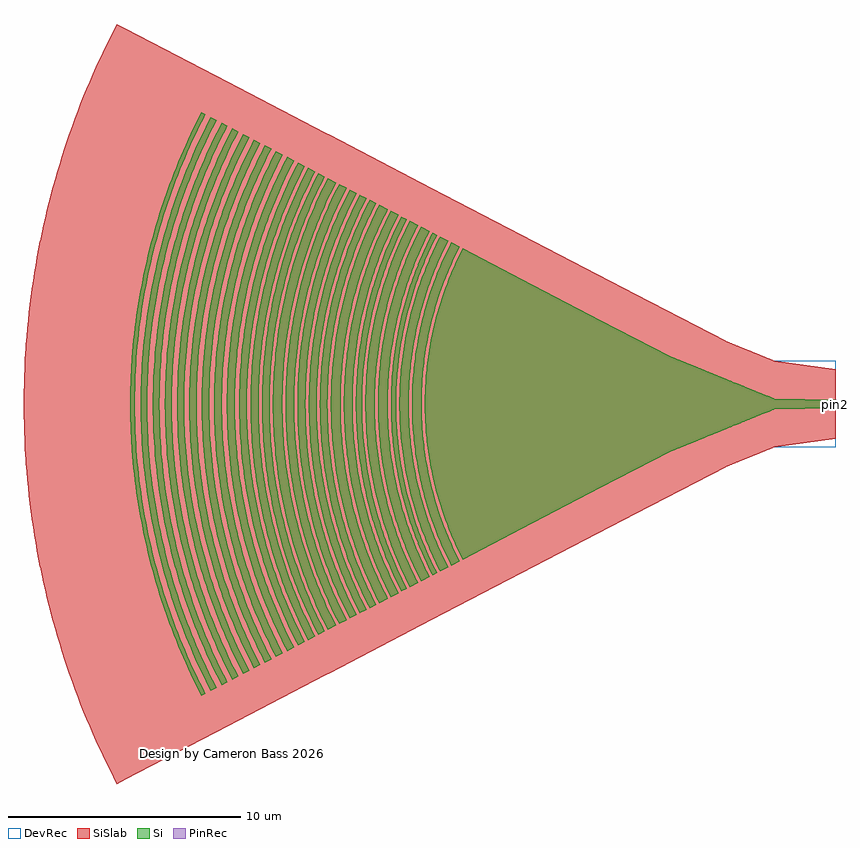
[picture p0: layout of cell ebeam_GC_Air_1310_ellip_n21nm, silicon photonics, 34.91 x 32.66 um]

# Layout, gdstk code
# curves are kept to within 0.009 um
import gdstk
lib = gdstk.Library(unit=1e-6, precision=1e-09)
def P(c, l, *ps):  # polygons
    for p in ps: c.add(gdstk.Polygon(p, *l))
Si = (1, 0)
PinRec = (1, 10)
SiSlab = (2, 0)
DevRec = (68, 0)

ebeam_gc_air_1310_ellip_ = lib.new_cell('ebeam_GC_Air_1310_ellip_n21nm')
P(ebeam_gc_air_1310_ellip_, Si, [(-16.039,-6.687),(-16.448,-5.832),(-16.764,-5.046),(-16.993,-4.377),(-17.258,-3.426),(-17.433,-2.597),(-17.56,-1.76),(-17.638,-0.917),(-17.666,-0.071),(-17.646,0.776),(-17.576,1.621),(-17.457,2.459),(-17.291,3.289),(-17.075,4.108),(-16.764,5.046),(-16.448,5.832),(-16.039,6.687),(-7.16,2.064),(-3.285,0.482),(-2.885,0.331),(-2.7,0.242),(-2.652,0.229),(0,0.175),(0,-0.175),(-2.683,-0.237),(-2.855,-0.318),(-3.193,-0.444),(-7.085,-2.031)],
  [(-16.531,-6.942),(-16.894,-6.19),(-17.23,-5.377),(-17.519,-4.547),(-17.759,-3.701),(-17.949,-2.842),(-18.089,-1.973),(-18.188,-0.953),(-18.218,-0.073),(-18.197,0.806),(-18.107,1.829),(-17.976,2.698),(-17.794,3.558),(-17.562,4.407),(-17.281,5.241),(-16.953,6.057),(-16.531,6.943),(-16.166,6.753),(-16.52,6.019),(-16.848,5.229),(-17.128,4.421),(-17.395,3.46),(-17.573,2.624),(-17.701,1.778),(-17.788,0.784),(-17.808,0.071),(-17.788,-0.784),(-17.701,-1.778),(-17.573,-2.623),(-17.395,-3.46),(-17.128,-4.421),(-16.848,-5.229),(-16.52,-6.019),(-16.166,-6.753)],
  [(-17.012,-7.193),(-17.388,-6.414),(-17.736,-5.572),(-18.035,-4.712),(-18.284,-3.835),(-18.48,-2.945),(-18.625,-2.045),(-18.718,-1.138),(-18.745,-0.683),(-18.759,-0.076),(-18.737,0.835),(-18.662,1.744),(-18.605,2.196),(-18.508,2.795),(-18.32,3.687),(-18.08,4.566),(-17.789,5.43),(-17.449,6.276),(-17.012,7.193),(-16.657,7.009),(-17.083,6.113),(-17.415,5.29),(-17.698,4.448),(-17.932,3.592),(-18.116,2.724),(-18.249,1.846),(-18.33,0.961),(-18.36,0.074),(-18.339,-0.813),(-18.249,-1.846),(-18.116,-2.724),(-17.932,-3.592),(-17.698,-4.448),(-17.415,-5.29),(-17.083,-6.113),(-16.657,-7.009)],
  [(-17.332,-7.36),(-17.78,-6.42),(-18.128,-5.556),(-18.379,-4.821),(-18.634,-3.924),(-18.835,-3.013),(-18.916,-2.554),(-19.003,-1.938),(-19.089,-1.01),(-19.12,-0.078),(-19.098,0.855),(-19.021,1.784),(-18.89,2.708),(-18.671,3.773),(-18.425,4.672),(-18.128,5.556),(-17.78,6.421),(-17.332,7.36),(-17.139,7.259),(-17.579,6.332),(-17.814,5.767),(-17.975,5.336),(-18.124,4.901),(-18.302,4.314),(-18.528,3.423),(-18.675,2.671),(-18.786,1.912),(-18.87,0.996),(-18.901,0.077),(-18.879,-0.843),(-18.82,-1.607),(-18.724,-2.367),(-18.56,-3.272),(-18.302,-4.314),(-18.124,-4.901),(-17.975,-5.335),(-17.814,-5.766),(-17.579,-6.332),(-17.139,-7.259)],
  [(-17.828,-7.618),(-18.291,-6.646),(-18.651,-5.751),(-18.959,-4.836),(-19.213,-3.905),(-19.412,-2.96),(-19.556,-2.006),(-19.645,-1.045),(-19.678,-0.08),(-19.654,0.885),(-19.575,1.847),(-19.44,2.802),(-19.319,3.435),(-19.213,3.905),(-18.959,4.836),(-18.651,5.751),(-18.291,6.646),(-17.828,7.618),(-17.459,7.426),(-17.846,6.622),(-18.206,5.753),(-18.515,4.863),(-18.771,3.959),(-18.88,3.501),(-19.004,2.886),(-19.144,1.956),(-19.208,1.332),(-19.24,0.862),(-19.262,0.078),(-19.24,-0.862),(-19.208,-1.332),(-19.144,-1.956),(-19.004,-2.886),(-18.808,-3.806),(-18.561,-4.714),(-18.261,-5.605),(-17.91,-6.478),(-17.459,-7.426)],
  [(-18.308,-7.868),(-18.581,-7.317),(-18.787,-6.863),(-19.158,-5.939),(-19.477,-4.994),(-19.739,-4.032),(-19.944,-3.057),(-20.094,-2.071),(-20.185,-1.08),(-20.219,-0.083),(-20.195,0.914),(-20.113,1.907),(-20.001,2.729),(-19.778,3.871),(-19.658,4.355),(-19.477,4.994),(-19.158,5.939),(-18.787,6.864),(-18.581,7.317),(-18.308,7.868),(-17.956,7.685),(-18.357,6.852),(-18.729,5.953),(-18.948,5.342),(-19.096,4.878),(-19.352,3.939),(-19.554,2.986),(-19.699,2.024),(-19.789,1.054),(-19.822,0.081),(-19.798,-0.892),(-19.718,-1.862),(-19.634,-2.506),(-19.554,-2.986),(-19.352,-3.938),(-19.096,-4.877),(-18.786,-5.8),(-18.357,-6.852),(-17.956,-7.685)],
  [(-18.67,-8.056),(-18.95,-7.49),(-19.161,-7.026),(-19.541,-6.08),(-19.867,-5.113),(-20.136,-4.128),(-20.346,-3.13),(-20.499,-2.12),(-20.593,-1.105),(-20.627,-0.085),(-20.603,0.935),(-20.519,1.953),(-20.376,2.962),(-20.248,3.631),(-20.136,4.128),(-19.867,5.113),(-19.541,6.08),(-19.161,7.026),(-18.95,7.491),(-18.67,8.056),(-18.435,7.935),(-18.71,7.378),(-18.984,6.766),(-19.35,5.831),(-19.513,5.356),(-19.707,4.715),(-19.837,4.229),(-19.989,3.576),(-20.168,2.587),(-20.273,1.756),(-20.338,0.921),(-20.362,0.084),(-20.338,-0.921),(-20.273,-1.756),(-20.168,-2.587),(-20.023,-3.412),(-19.916,-3.903),(-19.752,-4.553),(-19.564,-5.195),(-19.406,-5.673),(-19.174,-6.301),(-18.984,-6.766),(-18.71,-7.378),(-18.435,-7.934)],
  [(-19.128,-8.295),(-19.417,-7.712),(-19.634,-7.234),(-20.026,-6.26),(-20.361,-5.264),(-20.638,-4.25),(-20.854,-3.222),(-21.012,-2.183),(-21.108,-1.138),(-21.144,-0.088),(-21.134,0.613),(-21.108,1.138),(-21.012,2.183),(-20.854,3.222),(-20.638,4.25),(-20.361,5.264),(-20.026,6.26),(-19.634,7.235),(-19.417,7.712),(-19.128,8.295),(-18.798,8.123),(-19.223,7.241),(-19.491,6.609),(-19.676,6.129),(-20.004,5.154),(-20.275,4.162),(-20.488,3.156),(-20.642,2.139),(-20.736,1.114),(-20.771,0.086),(-20.746,-0.943),(-20.662,-1.968),(-20.518,-2.987),(-20.424,-3.492),(-20.275,-4.162),(-20.004,-5.154),(-19.676,-6.129),(-19.491,-6.609),(-19.223,-7.24),(-18.798,-8.123)],
  [(-19.627,-8.555),(-20.074,-7.627),(-20.488,-6.626),(-20.843,-5.603),(-21.139,-4.56),(-21.372,-3.502),(-21.545,-2.432),(-21.655,-1.353),(-21.686,-0.813),(-21.704,-0.09),(-21.678,0.993),(-21.588,2.074),(-21.437,3.146),(-21.301,3.856),(-21.182,4.385),(-20.897,5.43),(-20.673,6.117),(-20.488,6.626),(-20.074,7.627),(-19.627,8.555),(-19.256,8.362),(-19.693,7.453),(-20.099,6.474),(-20.279,5.977),(-20.498,5.306),(-20.776,4.284),(-20.996,3.248),(-21.154,2.202),(-21.251,1.146),(-21.287,0.088),(-21.282,-0.442),(-21.251,-1.146),(-21.154,-2.201),(-20.996,-3.248),(-20.776,-4.284),(-20.498,-5.305),(-20.336,-5.81),(-20.099,-6.474),(-19.693,-7.453),(-19.256,-8.362)],
  [(-20.042,-8.771),(-20.347,-8.154),(-20.577,-7.648),(-20.991,-6.618),(-21.345,-5.565),(-21.638,-4.494),(-21.867,-3.407),(-22.033,-2.308),(-22.135,-1.203),(-22.173,-0.093),(-22.146,1.018),(-22.055,2.125),(-21.985,2.676),(-21.867,3.407),(-21.638,4.494),(-21.345,5.565),(-20.991,6.618),(-20.577,7.648),(-20.347,8.154),(-20.042,8.771),(-19.758,8.623),(-20.056,8.017),(-20.282,7.52),(-20.561,6.848),(-20.752,6.336),(-20.984,5.646),(-21.14,5.123),(-21.281,4.595),(-21.446,3.886),(-21.612,2.991),(-21.735,2.089),(-21.825,1.001),(-21.851,0.091),(-21.841,-0.637),(-21.772,-1.727),(-21.667,-2.631),(-21.483,-3.707),(-21.366,-4.241),(-21.189,-4.948),(-20.984,-5.645),(-20.752,-6.336),(-20.561,-6.847),(-20.282,-7.519),(-20.056,-8.017),(-19.758,-8.623)],
  [(-20.462,-8.99),(-20.935,-8.01),(-21.161,-7.488),(-21.37,-6.958),(-21.743,-5.884),(-22.054,-4.789),(-22.185,-4.234),(-22.334,-3.491),(-22.504,-2.365),(-22.609,-1.233),(-22.648,-0.095),(-22.62,1.043),(-22.526,2.178),(-22.367,3.304),(-22.263,3.864),(-22.099,4.605),(-21.907,5.338),(-21.743,5.884),(-21.37,6.958),(-21.161,7.488),(-20.935,8.011),(-20.462,8.99),(-20.17,8.838),(-20.477,8.215),(-20.782,7.534),(-20.994,7.016),(-21.252,6.316),(-21.427,5.785),(-21.637,5.07),(-21.777,4.527),(-21.939,3.799),(-22.1,2.88),(-22.217,1.955),(-22.289,1.025),(-22.316,0.093),(-22.298,-0.839),(-22.235,-1.77),(-22.127,-2.696),(-21.939,-3.799),(-21.777,-4.527),(-21.637,-5.07),(-21.482,-5.607),(-21.252,-6.316),(-20.994,-7.016),(-20.782,-7.534),(-20.477,-8.215),(-20.169,-8.837)],
  [(-20.897,-9.216),(-21.22,-8.562),(-21.462,-8.03),(-21.688,-7.493),(-21.897,-6.949),(-22.269,-5.844),(-22.53,-4.908),(-22.664,-4.34),(-22.817,-3.577),(-22.992,-2.424),(-23.099,-1.263),(-23.138,-0.097),(-23.133,0.486),(-23.099,1.263),(-22.992,2.424),(-22.817,3.578),(-22.576,4.719),(-22.269,5.844),(-21.897,6.95),(-21.462,8.031),(-21.22,8.562),(-20.897,9.216),(-20.594,9.058),(-20.911,8.416),(-21.223,7.718),(-21.44,7.188),(-21.705,6.471),(-21.885,5.926),(-22.1,5.193),(-22.243,4.638),(-22.409,3.892),(-22.574,2.951),(-22.694,2.003),(-22.768,1.051),(-22.796,0.096),(-22.777,-0.86),(-22.713,-1.813),(-22.602,-2.762),(-22.409,-3.892),(-22.243,-4.638),(-22.1,-5.193),(-21.885,-5.926),(-21.705,-6.471),(-21.44,-7.188),(-21.223,-7.718),(-20.911,-8.416),(-20.594,-9.058)],
  [(-21.348,-9.451),(-21.68,-8.781),(-21.927,-8.236),(-22.159,-7.684),(-22.373,-7.127),(-22.755,-5.993),(-23.07,-4.839),(-23.317,-3.669),(-23.496,-2.486),(-23.606,-1.295),(-23.646,-0.1),(-23.641,0.498),(-23.606,1.296),(-23.496,2.487),(-23.317,3.669),(-23.07,4.839),(-22.755,5.993),(-22.373,7.127),(-22.159,7.685),(-21.927,8.236),(-21.68,8.781),(-21.348,9.451),(-21.024,9.282),(-21.265,8.8),(-21.592,8.088),(-21.892,7.365),(-22.098,6.815),(-22.288,6.26),(-22.516,5.51),(-22.714,4.752),(-22.885,3.988),(-23.054,3.024),(-23.177,2.052),(-23.253,1.076),(-23.281,0.098),(-23.262,-0.881),(-23.196,-1.858),(-23.083,-2.83),(-22.885,-3.987),(-22.714,-4.752),(-22.516,-5.51),(-22.348,-6.072),(-22.098,-6.815),(-21.892,-7.365),(-21.592,-8.088),(-21.349,-8.623),(-21.024,-9.282)],
  [(-21.836,-9.704),(-22.087,-9.203),(-22.429,-8.458),(-22.667,-7.892),(-22.887,-7.319),(-23.092,-6.74),(-23.279,-6.155),(-23.45,-5.564),(-23.603,-4.97),(-23.856,-3.768),(-23.957,-3.162),(-24.04,-2.553),(-24.153,-1.33),(-24.183,-0.716),(-24.194,-0.102),(-24.165,1.126),(-24.064,2.351),(-23.957,3.162),(-23.856,3.768),(-23.603,4.97),(-23.45,5.565),(-23.279,6.155),(-23.092,6.74),(-22.887,7.32),(-22.667,7.892),(-22.429,8.459),(-22.087,9.203),(-21.836,9.705),(-21.475,9.517),(-21.809,8.842),(-22.137,8.109),(-22.365,7.552),(-22.643,6.798),(-22.832,6.226),(-23.058,5.457),(-23.208,4.873),(-23.382,4.089),(-23.556,3.1),(-23.682,2.105),(-23.76,1.104),(-23.789,0.1),(-23.77,-0.903),(-23.702,-1.905),(-23.556,-3.1),(-23.382,-4.089),(-23.208,-4.873),(-23.058,-5.455),(-22.832,-6.226),(-22.643,-6.798),(-22.365,-7.552),(-22.137,-8.109),(-21.809,-8.842),(-21.475,-9.517)],
  [(-22.25,-9.92),(-22.597,-9.217),(-22.857,-8.645),(-23.1,-8.066),(-23.325,-7.481),(-23.726,-6.291),(-24.057,-5.08),(-24.315,-3.851),(-24.418,-3.232),(-24.503,-2.609),(-24.57,-1.985),(-24.619,-1.36),(-24.661,-0.105),(-24.655,0.524),(-24.631,1.151),(-24.528,2.402),(-24.449,3.025),(-24.352,3.645),(-24.237,4.263),(-24.057,5.08),(-23.726,6.291),(-23.534,6.889),(-23.325,7.481),(-23.1,8.067),(-22.857,8.646),(-22.507,9.406),(-22.25,9.92),(-21.963,9.771),(-22.304,9.079),(-22.559,8.516),(-22.875,7.755),(-23.092,7.175),(-23.292,6.59),(-23.531,5.802),(-23.691,5.204),(-23.878,4.4),(-23.997,3.794),(-24.098,3.183),(-24.227,2.161),(-24.307,1.133),(-24.337,0.103),(-24.307,-1.133),(-24.227,-2.161),(-24.098,-3.183),(-23.997,-3.794),(-23.878,-4.4),(-23.691,-5.204),(-23.531,-5.801),(-23.292,-6.589),(-23.092,-7.175),(-22.875,-7.754),(-22.559,-8.515),(-22.304,-9.079),(-21.963,-9.771)],
  [(-22.684,-10.146),(-22.949,-9.618),(-23.307,-8.839),(-23.556,-8.248),(-23.786,-7.649),(-24.195,-6.433),(-24.374,-5.815),(-24.534,-5.194),(-24.675,-4.568),(-24.798,-3.938),(-24.904,-3.305),(-24.991,-2.668),(-25.059,-2.03),(-25.109,-1.39),(-25.14,-0.749),(-25.152,-0.107),(-25.146,0.536),(-25.121,1.177),(-25.078,1.817),(-25.016,2.456),(-24.935,3.093),(-24.836,3.727),(-24.675,4.568),(-24.534,5.194),(-24.374,5.815),(-24.195,6.433),(-23.786,7.65),(-23.556,8.248),(-23.307,8.84),(-22.949,9.618),(-22.684,10.146),(-22.38,9.988),(-22.73,9.279),(-22.991,8.703),(-23.314,7.925),(-23.535,7.333),(-23.804,6.534),(-23.984,5.929),(-24.148,5.318),(-24.339,4.497),(-24.531,3.462),(-24.674,2.418),(-24.765,1.368),(-24.796,0.738),(-24.808,0.105),(-24.788,-0.948),(-24.696,-2.208),(-24.564,-3.253),(-24.339,-4.497),(-24.148,-5.318),(-23.984,-5.929),(-23.804,-6.534),(-23.535,-7.333),(-23.314,-7.925),(-22.991,-8.703),(-22.73,-9.279),(-22.38,-9.988)],
  [(-23.116,-10.371),(-23.39,-9.825),(-23.667,-9.23),(-23.927,-8.628),(-24.169,-8.018),(-24.393,-7.402),(-24.6,-6.78),(-24.788,-6.151),(-24.958,-5.518),(-25.109,-4.88),(-25.241,-4.238),(-25.355,-3.592),(-25.45,-2.943),(-25.526,-2.292),(-25.598,-1.42),(-25.63,-0.765),(-25.642,-0.109),(-25.636,0.547),(-25.611,1.202),(-25.566,1.856),(-25.503,2.509),(-25.42,3.16),(-25.319,3.808),(-25.199,4.453),(-25.01,5.306),(-24.846,5.942),(-24.664,6.571),(-24.464,7.196),(-24.246,7.815),(-24.01,8.426),(-23.756,9.03),(-23.485,9.628),(-23.116,10.371),(-22.828,10.222),(-23.188,9.491),(-23.541,8.705),(-23.786,8.107),(-24.012,7.501),(-24.287,6.684),(-24.472,6.065),(-24.691,5.231),(-24.835,4.6),(-25.032,3.541),(-25.125,2.902),(-25.2,2.259),(-25.283,1.185),(-25.315,0.108),(-25.294,-0.97),(-25.2,-2.259),(-25.125,-2.901),(-25.032,-3.541),(-24.835,-4.6),(-24.691,-5.231),(-24.472,-6.065),(-24.287,-6.684),(-24.012,-7.501),(-23.786,-8.107),(-23.455,-8.902),(-23.188,-9.491),(-22.828,-10.221)],
  [(-23.585,-10.616),(-23.869,-10.05),(-24.153,-9.442),(-24.419,-8.826),(-24.666,-8.202),(-24.896,-7.572),(-25.107,-6.936),(-25.3,-6.292),(-25.474,-5.645),(-25.629,-4.992),(-25.804,-4.115),(-25.915,-3.453),(-26.006,-2.788),(-26.077,-2.121),(-26.129,-1.453),(-26.162,-0.782),(-26.175,-0.112),(-26.168,0.56),(-26.142,1.23),(-26.097,1.899),(-26.032,2.567),(-25.947,3.232),(-25.843,3.896),(-25.675,4.774),(-25.527,5.428),(-25.36,6.078),(-25.173,6.722),(-24.968,7.361),(-24.745,7.994),(-24.504,8.619),(-24.244,9.237),(-23.966,9.849),(-23.585,10.616),(-23.286,10.46),(-23.658,9.707),(-23.931,9.106),(-24.269,8.291),(-24.501,7.672),(-24.715,7.046),(-24.972,6.203),(-25.143,5.564),(-25.343,4.705),(-25.545,3.621),(-25.694,2.529),(-25.757,1.872),(-25.802,1.212),(-25.834,0.11),(-25.813,-0.992),(-25.775,-1.652),(-25.717,-2.31),(-25.579,-3.404),(-25.47,-4.056),(-25.343,-4.705),(-25.196,-5.35),(-24.972,-6.203),(-24.575,-7.464),(-24.349,-8.085),(-24.019,-8.903),(-23.658,-9.707),(-23.286,-10.46)],
  [(-24.068,-10.867),(-24.461,-10.075),(-24.745,-9.45),(-25.011,-8.817),(-25.258,-8.178),(-25.487,-7.53),(-25.697,-6.877),(-25.888,-6.217),(-26.059,-5.553),(-26.163,-5.107),(-26.343,-4.21),(-26.456,-3.533),(-26.549,-2.852),(-26.622,-2.17),(-26.675,-1.486),(-26.709,-0.8),(-26.722,-0.114),(-26.715,0.573),(-26.689,1.258),(-26.622,2.17),(-26.549,2.853),(-26.456,3.533),(-26.343,4.21),(-26.163,5.108),(-26.059,5.553),(-25.888,6.217),(-25.697,6.877),(-25.487,7.53),(-25.258,8.178),(-24.925,9.03),(-24.745,9.451),(-24.461,10.075),(-24.068,10.867),(-23.774,10.714),(-24.347,9.527),(-24.615,8.905),(-24.945,8.065),(-25.241,7.213),(-25.442,6.566),(-25.623,5.914),(-25.837,5.037),(-26.054,3.93),(-26.158,3.261),(-26.244,2.589),(-26.342,1.465),(-26.375,0.79),(-26.388,0.113),(-26.366,-1.015),(-26.268,-2.365),(-26.126,-3.484),(-26.015,-4.152),(-25.884,-4.816),(-25.734,-5.476),(-25.504,-6.349),(-25.31,-6.997),(-25.022,-7.853),(-24.785,-8.487),(-24.438,-9.32),(-24.061,-10.14),(-23.774,-10.714)],
  [(-24.538,-11.112),(-24.841,-10.51),(-25.233,-9.659),(-25.505,-9.013),(-25.757,-8.359),(-25.991,-7.697),(-26.206,-7.029),(-26.401,-6.355),(-26.577,-5.676),(-26.683,-5.221),(-26.867,-4.303),(-26.982,-3.611),(-27.077,-2.916),(-27.152,-2.218),(-27.207,-1.519),(-27.241,-0.818),(-27.254,-0.117),(-27.241,0.818),(-27.207,1.52),(-27.152,2.219),(-27.077,2.917),(-26.982,3.611),(-26.867,4.303),(-26.683,5.221),(-26.577,5.676),(-26.401,6.356),(-26.137,7.253),(-25.916,7.918),(-25.675,8.578),(-25.417,9.23),(-25.138,9.873),(-24.841,10.51),(-24.538,11.112),(-24.255,10.965),(-24.652,10.164),(-24.939,9.533),(-25.293,8.681),(-25.536,8.032),(-25.831,7.157),(-26.029,6.495),(-26.209,5.825),(-26.418,4.926),(-26.63,3.792),(-26.786,2.648),(-26.887,1.499),(-26.92,0.808),(-26.933,0.115),(-26.927,-0.577),(-26.9,-1.269),(-26.81,-2.419),(-26.73,-3.107),(-26.63,-3.792),(-26.418,-4.926),(-26.209,-5.825),(-26.029,-6.494),(-25.831,-7.157),(-25.536,-8.032),(-25.293,-8.681),(-24.939,-9.533),(-24.652,-10.164),(-24.255,-10.965)],
  [(-25.011,-11.358),(-25.322,-10.74),(-25.626,-10.09),(-25.91,-9.432),(-26.175,-8.765),(-26.42,-8.092),(-26.646,-7.412),(-26.853,-6.724),(-27.039,-6.032),(-27.204,-5.334),(-27.349,-4.632),(-27.473,-3.927),(-27.578,-3.217),(-27.661,-2.505),(-27.724,-1.79),(-27.775,-0.836),(-27.789,-0.12),(-27.782,0.597),(-27.754,1.314),(-27.705,2.029),(-27.636,2.743),(-27.545,3.454),(-27.393,4.397),(-27.254,5.102),(-27.096,5.8),(-26.917,6.495),(-26.717,7.184),(-26.498,7.866),(-26.259,8.542),(-26.001,9.211),(-25.626,10.09),(-25.322,10.74),(-25.011,11.358),(-24.735,11.215),(-25.143,10.392),(-25.436,9.747),(-25.798,8.876),(-26.047,8.213),(-26.276,7.544),(-26.551,6.641),(-26.735,5.956),(-26.949,5.037),(-27.165,3.877),(-27.325,2.708),(-27.394,2.004),(-27.442,1.297),(-27.476,0.118),(-27.469,-0.589),(-27.442,-1.297),(-27.35,-2.473),(-27.202,-3.644),(-27.086,-4.343),(-26.949,-5.037),(-26.735,-5.956),(-26.551,-6.64),(-26.276,-7.544),(-26.047,-8.213),(-25.711,-9.095),(-25.436,-9.747),(-25.143,-10.392),(-24.735,-11.214)],
  [(-25.473,-11.598),(-25.791,-10.966),(-26.101,-10.302),(-26.391,-9.63),(-26.661,-8.949),(-26.912,-8.262),(-27.143,-7.568),(-27.354,-6.866),(-27.544,-6.159),(-27.713,-5.446),(-27.905,-4.49),(-28.026,-3.768),(-28.125,-3.042),(-28.203,-2.315),(-28.26,-1.585),(-28.295,-0.854),(-28.31,-0.122),(-28.295,0.854),(-28.26,1.585),(-28.203,2.315),(-28.125,3.042),(-28.026,3.768),(-27.905,4.49),(-27.764,5.209),(-27.602,5.922),(-27.419,6.632),(-27.216,7.334),(-26.992,8.031),(-26.747,8.722),(-26.484,9.404),(-26.2,10.08),(-25.791,10.966),(-25.473,11.598),(-25.209,11.461),(-25.627,10.619),(-25.926,9.961),(-26.297,9.07),(-26.551,8.392),(-26.859,7.478),(-27.066,6.786),(-27.254,6.086),(-27.421,5.383),(-27.568,4.674),(-27.694,3.962),(-27.857,2.767),(-27.927,2.048),(-27.976,1.326),(-28.011,0.121),(-27.988,-1.085),(-27.946,-1.807),(-27.883,-2.527),(-27.799,-3.246),(-27.694,-3.961),(-27.473,-5.146),(-27.254,-6.086),(-27.066,-6.785),(-26.859,-7.478),(-26.551,-8.392),(-26.297,-9.07),(-25.926,-9.96),(-25.627,-10.619),(-25.209,-11.461)],
  [(-25.938,-11.84),(-26.263,-11.194),(-26.58,-10.516),(-26.876,-9.831),(-27.152,-9.136),(-27.408,-8.434),(-27.644,-7.725),(-27.859,-7.009),(-28.053,-6.287),(-28.225,-5.56),(-28.422,-4.583),(-28.544,-3.846),(-28.646,-3.105),(-28.726,-2.363),(-28.784,-1.618),(-28.82,-0.871),(-28.834,-0.125),(-28.827,0.623),(-28.798,1.37),(-28.747,2.115),(-28.675,2.859),(-28.581,3.6),(-28.422,4.583),(-28.277,5.317),(-28.112,6.045),(-27.926,6.769),(-27.718,7.487),(-27.489,8.198),(-27.24,8.903),(-26.971,9.6),(-26.681,10.289),(-26.371,10.969),(-25.938,11.841),(-25.679,11.706),(-26,11.067),(-26.412,10.173),(-26.79,9.262),(-27.05,8.57),(-27.289,7.872),(-27.577,6.93),(-27.768,6.216),(-27.992,5.256),(-28.217,4.046),(-28.384,2.826),(-28.456,2.091),(-28.506,1.354),(-28.542,0.123),(-28.534,-0.615),(-28.506,-1.354),(-28.41,-2.581),(-28.255,-3.802),(-28.134,-4.531),(-27.992,-5.256),(-27.768,-6.215),(-27.577,-6.929),(-27.289,-7.871),(-27.05,-8.57),(-26.699,-9.491),(-26.412,-10.171),(-26,-11.066),(-25.679,-11.706)],
  [(-26.397,-12.079),(-26.729,-11.419),(-27.052,-10.728),(-27.354,-10.028),(-27.635,-9.319),(-27.897,-8.603),(-28.137,-7.88),(-28.356,-7.149),(-28.554,-6.414),(-28.73,-5.671),(-28.931,-4.675),(-29.056,-3.924),(-29.159,-3.168),(-29.241,-2.41),(-29.3,-1.651),(-29.337,-0.889),(-29.352,-0.127),(-29.344,0.636),(-29.315,1.397),(-29.263,2.157),(-29.189,2.917),(-29.093,3.672),(-28.975,4.426),(-28.835,5.175),(-28.615,6.167),(-28.425,6.905),(-28.213,7.638),(-27.979,8.363),(-27.725,9.082),(-27.451,9.793),(-27.155,10.496),(-26.839,11.19),(-26.397,12.079),(-26.148,11.95),(-26.585,11.07),(-26.897,10.384),(-27.283,9.455),(-27.548,8.749),(-27.792,8.036),(-28.086,7.074),(-28.281,6.345),(-28.456,5.612),(-28.609,4.873),(-28.74,4.13),(-28.91,2.885),(-29.02,1.633),(-29.056,0.88),(-29.071,0.126),(-29.063,-0.628),(-29.034,-1.382),(-28.937,-2.635),(-28.849,-3.384),(-28.74,-4.13),(-28.609,-4.873),(-28.455,-5.612),(-28.281,-6.345),(-28.086,-7.073),(-27.869,-7.795),(-27.548,-8.748),(-27.283,-9.455),(-26.897,-10.383),(-26.585,-11.07),(-26.148,-11.95)],
  [(-26.867,-12.324),(-27.311,-11.43),(-27.633,-10.721),(-27.935,-10.003),(-28.215,-9.277),(-28.474,-8.543),(-28.712,-7.802),(-28.928,-7.053),(-29.123,-6.299),(-29.294,-5.54),(-29.444,-4.776),(-29.572,-4.008),(-29.678,-3.236),(-29.76,-2.462),(-29.821,-1.686),(-29.859,-0.908),(-29.874,-0.13),(-29.859,0.908),(-29.821,1.686),(-29.76,2.462),(-29.678,3.236),(-29.572,4.008),(-29.444,4.776),(-29.294,5.541),(-29.123,6.299),(-28.928,7.054),(-28.712,7.802),(-28.474,8.543),(-28.215,9.278),(-27.837,10.244),(-27.633,10.721),(-27.311,11.43),(-26.867,12.325),(-26.615,12.194),(-27.061,11.295),(-27.38,10.594),(-27.774,9.647),(-28.044,8.926),(-28.293,8.199),(-28.521,7.463),(-28.792,6.474),(-28.969,5.726),(-29.218,4.467),(-29.337,3.707),(-29.434,2.943),(-29.508,2.178),(-29.56,1.41),(-29.598,0.128),(-29.59,-0.641),(-29.56,-1.41),(-29.508,-2.178),(-29.434,-2.943),(-29.337,-3.707),(-29.218,-4.467),(-28.97,-5.725),(-28.728,-6.722),(-28.521,-7.463),(-28.293,-8.198),(-28.044,-8.926),(-27.774,-9.647),(-27.38,-10.594),(-27.061,-11.295),(-26.615,-12.193)],
  [(-27.265,-12.532),(-27.61,-11.844),(-27.945,-11.127),(-28.258,-10.402),(-28.549,-9.666),(-28.806,-8.965),(-29.069,-8.174),(-29.296,-7.416),(-29.501,-6.653),(-29.683,-5.883),(-29.842,-5.109),(-29.98,-4.33),(-30.095,-3.548),(-30.212,-2.5),(-30.268,-1.793),(-30.312,-0.922),(-30.327,-0.132),(-30.319,0.659),(-30.289,1.449),(-30.235,2.238),(-30.128,3.286),(-30.021,4.07),(-29.891,4.85),(-29.738,5.626),(-29.564,6.397),(-29.367,7.162),(-29.147,7.922),(-28.906,8.675),(-28.642,9.421),(-28.358,10.158),(-28.052,10.887),(-27.724,11.607),(-27.265,12.532),(-27.094,12.443),(-27.541,11.539),(-27.866,10.823),(-28.268,9.856),(-28.544,9.119),(-28.798,8.376),(-29.104,7.373),(-29.307,6.614),(-29.489,5.85),(-29.648,5.079),(-29.784,4.305),(-29.961,3.007),(-30.076,1.702),(-30.114,0.917),(-30.129,0.131),(-30.104,-1.179),(-30.058,-1.963),(-29.989,-2.746),(-29.898,-3.527),(-29.784,-4.305),(-29.648,-5.079),(-29.489,-5.849),(-29.307,-6.614),(-29.104,-7.373),(-28.878,-8.126),(-28.544,-9.119),(-28.268,-9.856),(-27.866,-10.823),(-27.541,-11.539),(-27.094,-12.443)])
P(ebeam_gc_air_1310_ellip_, SiSlab, [(-30.904,-16.329),(-31.366,-15.41),(-31.801,-14.477),(-32.208,-13.533),(-32.588,-12.577),(-32.94,-11.61),(-33.264,-10.634),(-33.559,-9.648),(-33.825,-8.655),(-34.062,-7.654),(-34.27,-6.647),(-34.449,-5.634),(-34.598,-4.616),(-34.717,-3.594),(-34.807,-2.569),(-34.867,-1.543),(-34.9,-0.171),(-34.89,0.857),(-34.85,1.885),(-34.781,2.912),(-34.681,3.935),(-34.552,4.956),(-34.393,5.972),(-34.135,7.319),(-33.907,8.322),(-33.651,9.318),(-33.365,10.307),(-33.051,11.286),(-32.709,12.256),(-32.338,13.216),(-31.94,14.164),(-31.366,15.41),(-30.904,16.329),(-4.744,2.708),(-2.65,1.855),(0,1.5),(0,-1.5),(-2.65,-1.855),(-4.728,-2.7)])
P(ebeam_gc_air_1310_ellip_, DevRec, [(-30.904,-16.329),(-31.366,-15.41),(-31.801,-14.477),(-32.208,-13.533),(-32.588,-12.577),(-32.94,-11.61),(-33.264,-10.634),(-33.559,-9.648),(-33.825,-8.655),(-34.062,-7.654),(-34.27,-6.647),(-34.449,-5.634),(-34.598,-4.616),(-34.717,-3.594),(-34.807,-2.569),(-34.867,-1.543),(-34.9,-0.171),(-34.89,0.857),(-34.85,1.885),(-34.781,2.912),(-34.681,3.935),(-34.552,4.956),(-34.393,5.972),(-34.135,7.319),(-33.907,8.322),(-33.651,9.318),(-33.365,10.307),(-33.051,11.286),(-32.709,12.256),(-32.338,13.216),(-31.94,14.164),(-31.366,15.41),(-30.904,16.329),(-4.744,2.708),(-2.65,1.855),(0,1.855),(0,-1.855),(-2.65,-1.855),(-4.728,-2.7)])
ebeam_gc_air_1310_ellip_.add(gdstk.FlexPath([(-0.01,0),(0.01,0)], 0.35, ends="flush", simple_path=True, layer=1, datatype=10))  # PinRec
ebeam_gc_air_1310_ellip_.add(gdstk.Label('pin2', (0,0), layer=1, texttype=10))
ebeam_gc_air_1310_ellip_.add(gdstk.Label('Design by Cameron Bass 2026', (-25.94,-15.02), layer=10, texttype=0))

lib.write_gds('ebeam_GC_Air_1310_ellip_n21nm.gds')
